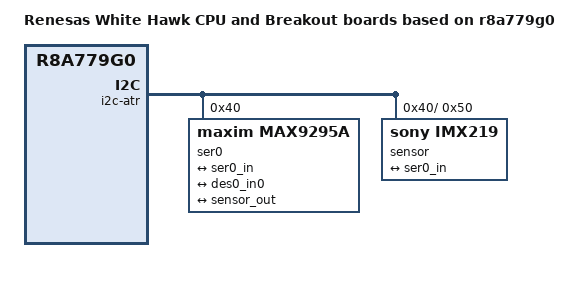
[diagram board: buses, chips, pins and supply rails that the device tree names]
// SPDX-License-Identifier: (GPL-2.0-only OR BSD-2-Clause)
/*
 * Device Tree Source for the R-Car V4H White Hawk CPU and BreakOut boards
 *
 * Copyright (C) 2022 Renesas Electronics Corp.
 */

/dts-v1/;
#include "r8a779g0-white-hawk-cpu.dtsi"
#include "white-hawk-common.dtsi"

/ {
	model = "Renesas White Hawk CPU and Breakout boards based on r8a779g0";
	compatible = "renesas,white-hawk-breakout", "renesas,white-hawk-cpu", "renesas,r8a779g0";
};

&csi40_in {
	remote-endpoint = <&des0_out>;
};

/*
 * Deserializer
 */

&gmsl0 {
	#address-cells = <1>;
	#size-cells = <0>;

	/* Serializer addresses */
	i2c-alias-pool = <0x41 0x42 0x43 0x44>;

	i2c-atr {
		#address-cells = <1>;
		#size-cells = <0>;

		des_i2c_0: i2c@0 {
			#address-cells = <1>;
			#size-cells = <0>;

			reg = <0>;
		};
	};

	channel@0 {
		reg = <0>;

		label = "des0";

		maxim,phy-id = <1>;

		ports {
			#address-cells = <1>;
			#size-cells = <0>;

			port@0 {
				reg = <0>;

				des0_out: endpoint {
					remote-endpoint = <&csi40_in>;
					bus-type = <MEDIA_BUS_TYPE_CSI2_CPHY>;
					clock-lanes = <0>;
					data-lanes = <1 2 3>;
					link-frequencies = /bits/ 64 <500000000>;
				};
			};

			port@1 {
				reg = <1>;

				des0_in0: endpoint {
					remote-endpoint = <&ser0_out>;
				};
			};
		};
	};
};

/*
 * Serializer
 */

&des_i2c_0 {
	ser0: gmsl-serializer@40 {
		#address-cells = <1>;
		#size-cells = <0>;

		compatible = "maxim,max9295a";
		reg = <0x40>;

		gpio-controller;
		#gpio-cells = <2>;
		gpio-ranges = <&ser0 0 0 11>;

		i2c-alias-pool = <0x37 0x38>; /* cam address? */

		i2c-atr {
			#address-cells = <1>;
			#size-cells = <0>;

			ser0_i2c: i2c@0 {
				#address-cells = <1>;
				#size-cells = <0>;

				reg = <0>;
			};
		};

		channel@0 {
			reg = <0>;

			label = "ser0";

			ports {
				#address-cells = <1>;
				#size-cells = <0>;

				port@0 {
					reg = <0>;

					ser0_out: endpoint {
						remote-endpoint = <&des0_in0>;
					};
				};

				port@1 {
					reg = <1>;

					ser0_in: endpoint {
						remote-endpoint = <&sensor_out>;
					};
				};
			};
		};
	};
};

/*
 * Camera
 */

/ {
	imx219_clk: clock {
		compatible = "fixed-clock";
		#clock-cells = <0>;
		clock-frequency = <24000000>;
	};
};

&ser0_i2c {
	sensor@50 {
		compatible = "sony,imx219";
		reg = <0x50>;

            	clocks = <&imx219_clk>;

/*
		clocks = <&clk_cam_27M>;
		clock-names = "inck";

		xclr-gpios = <&serializer 0 GPIO_ACTIVE_LOW>;
		error0-gpios = <&serializer 1 GPIO_ACTIVE_HIGH>;
		error1-gpios = <&serializer 2 GPIO_ACTIVE_HIGH>;
		comready-gpios = <&serializer 3 GPIO_ACTIVE_HIGH>;
*/
		#address-cells = <1>;
		#size-cells = <0>;

		port {
			sensor_out: endpoint {
				remote-endpoint = <&ser0_in>;
                    		data-lanes = <1 2>;
		                    link-frequencies = /bits/ 64 <456000000>;
			};
		};
	};
};
